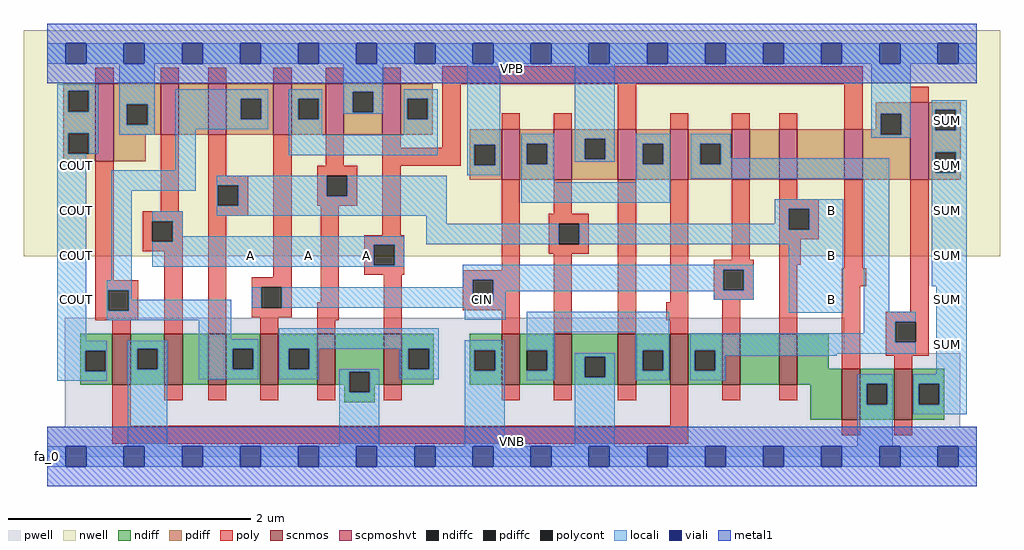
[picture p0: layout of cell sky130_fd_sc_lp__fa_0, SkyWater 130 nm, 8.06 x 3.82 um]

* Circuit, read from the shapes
.subckt sky130_fd_sc_lp__fa_0 A B CIN VGND VNB VPB VPWR COUT SUM
XM1 VGND n1 COUT VNB sky130_fd_pr__nfet_01v8 w=0.42 l=0.15
XM2 n2 A VGND VNB sky130_fd_pr__nfet_01v8 w=0.42 l=0.15
XM3 n1 B n2 VNB sky130_fd_pr__nfet_01v8 w=0.42 l=0.15
XM4 n3 CIN n1 VNB sky130_fd_pr__nfet_01v8 w=0.42 l=0.15
XM5 VGND B n3 VNB sky130_fd_pr__nfet_01v8 w=0.42 l=0.15
XM6 n3 A VGND VNB sky130_fd_pr__nfet_01v8 w=0.42 l=0.15
XM7 n4 CIN VGND VNB sky130_fd_pr__nfet_01v8 w=0.42 l=0.15
XM8 VGND B n4 VNB sky130_fd_pr__nfet_01v8 w=0.42 l=0.15
XM9 n4 A VGND VNB sky130_fd_pr__nfet_01v8 w=0.42 l=0.15
XM10 n5 n1 n4 VNB sky130_fd_pr__nfet_01v8 w=0.42 l=0.15
XM11 n6 CIN n5 VNB sky130_fd_pr__nfet_01v8 w=0.42 l=0.15
XM12 n7 B n6 VNB sky130_fd_pr__nfet_01v8 w=0.42 l=0.15
XM13 VGND A n7 VNB sky130_fd_pr__nfet_01v8 w=0.42 l=0.15
XM14 SUM n5 VGND VNB sky130_fd_pr__nfet_01v8 w=0.42 l=0.15
XM15 VPWR n1 COUT VPB sky130_fd_pr__pfet_01v8_hvt w=0.64 l=0.15
XM16 n8 A VPWR VPB sky130_fd_pr__pfet_01v8_hvt w=0.42 l=0.15
XM17 n1 B n8 VPB sky130_fd_pr__pfet_01v8_hvt w=0.42 l=0.15
XM18 n9 CIN n1 VPB sky130_fd_pr__pfet_01v8_hvt w=0.42 l=0.15
XM19 VPWR B n9 VPB sky130_fd_pr__pfet_01v8_hvt w=0.42 l=0.15
XM20 n9 A VPWR VPB sky130_fd_pr__pfet_01v8_hvt w=0.42 l=0.15
XM21 n10 CIN VPWR VPB sky130_fd_pr__pfet_01v8_hvt w=0.42 l=0.15
XM22 VPWR B n10 VPB sky130_fd_pr__pfet_01v8_hvt w=0.42 l=0.15
XM23 n10 A VPWR VPB sky130_fd_pr__pfet_01v8_hvt w=0.42 l=0.15
XM24 n5 n1 n10 VPB sky130_fd_pr__pfet_01v8_hvt w=0.42 l=0.15
XM25 n11 CIN n5 VPB sky130_fd_pr__pfet_01v8_hvt w=0.42 l=0.15
XM26 n12 B n11 VPB sky130_fd_pr__pfet_01v8_hvt w=0.42 l=0.15
XM27 VPWR A n12 VPB sky130_fd_pr__pfet_01v8_hvt w=0.42 l=0.15
XM28 SUM n5 VPWR VPB sky130_fd_pr__pfet_01v8_hvt w=0.64 l=0.15
.ends

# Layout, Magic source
magic
tech sky130A
magscale 1 2
<< nwell >>
rect -38 331 1574 704
<< pwell >>
rect 29 171 1317 229
rect 29 49 1508 171
rect 0 0 1536 49
<< scnmos >>
rect 108 119 138 203
rect 194 119 224 203
rect 266 119 296 203
rect 352 119 382 203
rect 446 119 476 203
rect 556 119 586 203
rect 751 119 781 203
rect 837 119 867 203
rect 943 119 973 203
rect 1029 119 1059 203
rect 1115 119 1145 203
rect 1209 119 1239 203
rect 1313 61 1343 145
rect 1399 61 1429 145
<< scpmoshvt >>
rect 80 488 110 616
rect 188 532 218 616
rect 266 532 296 616
rect 374 532 404 616
rect 460 532 490 616
rect 554 532 584 616
rect 751 457 781 541
rect 837 457 867 541
rect 943 457 973 541
rect 1029 457 1059 541
rect 1131 457 1161 541
rect 1209 457 1239 541
rect 1317 457 1347 541
rect 1426 457 1456 585
<< ndiff >>
rect 55 175 108 203
rect 55 141 63 175
rect 97 141 108 175
rect 55 119 108 141
rect 138 178 194 203
rect 138 144 149 178
rect 183 144 194 178
rect 138 119 194 144
rect 224 119 266 203
rect 296 178 352 203
rect 296 144 307 178
rect 341 144 352 178
rect 296 119 352 144
rect 382 178 446 203
rect 382 144 399 178
rect 433 144 446 178
rect 382 119 446 144
rect 476 140 556 203
rect 476 119 499 140
rect 491 106 499 119
rect 533 119 556 140
rect 586 178 639 203
rect 586 144 597 178
rect 631 144 639 178
rect 586 119 639 144
rect 698 176 751 203
rect 698 142 706 176
rect 740 142 751 176
rect 698 119 751 142
rect 781 176 837 203
rect 781 142 792 176
rect 826 142 837 176
rect 781 119 837 142
rect 867 165 943 203
rect 867 131 888 165
rect 922 131 943 165
rect 867 119 943 131
rect 973 176 1029 203
rect 973 142 984 176
rect 1018 142 1029 176
rect 973 119 1029 142
rect 1059 176 1115 203
rect 1059 142 1070 176
rect 1104 142 1115 176
rect 1059 119 1115 142
rect 1145 119 1209 203
rect 1239 145 1291 203
rect 1239 119 1313 145
rect 533 106 541 119
rect 491 90 541 106
rect 1261 61 1313 119
rect 1343 120 1399 145
rect 1343 86 1354 120
rect 1388 86 1399 120
rect 1343 61 1399 86
rect 1429 120 1482 145
rect 1429 86 1440 120
rect 1474 86 1482 120
rect 1429 61 1482 86
<< pdiff >>
rect 27 604 80 616
rect 27 570 35 604
rect 69 570 80 604
rect 27 534 80 570
rect 27 500 35 534
rect 69 500 80 534
rect 27 488 80 500
rect 110 582 188 616
rect 110 548 132 582
rect 166 548 188 582
rect 110 532 188 548
rect 218 532 266 616
rect 296 591 374 616
rect 296 557 320 591
rect 354 557 374 591
rect 296 532 374 557
rect 404 591 460 616
rect 404 557 415 591
rect 449 557 460 591
rect 404 532 460 557
rect 490 603 554 616
rect 490 569 505 603
rect 539 569 554 603
rect 490 532 554 569
rect 584 591 637 616
rect 584 557 595 591
rect 629 557 637 591
rect 584 532 637 557
rect 110 488 163 532
rect 1369 566 1426 585
rect 1369 541 1377 566
rect 698 515 751 541
rect 698 481 706 515
rect 740 481 751 515
rect 698 457 751 481
rect 781 517 837 541
rect 781 483 792 517
rect 826 483 837 517
rect 781 457 837 483
rect 867 525 943 541
rect 867 491 888 525
rect 922 491 943 525
rect 867 457 943 491
rect 973 517 1029 541
rect 973 483 984 517
rect 1018 483 1029 517
rect 973 457 1029 483
rect 1059 517 1131 541
rect 1059 483 1079 517
rect 1113 483 1131 517
rect 1059 457 1131 483
rect 1161 457 1209 541
rect 1239 457 1317 541
rect 1347 532 1377 541
rect 1411 532 1426 566
rect 1347 457 1426 532
rect 1456 573 1509 585
rect 1456 539 1467 573
rect 1501 539 1509 573
rect 1456 503 1509 539
rect 1456 469 1467 503
rect 1501 469 1509 503
rect 1456 457 1509 469
<< ndiffc >>
rect 63 141 97 175
rect 149 144 183 178
rect 307 144 341 178
rect 399 144 433 178
rect 499 106 533 140
rect 597 144 631 178
rect 706 142 740 176
rect 792 142 826 176
rect 888 131 922 165
rect 984 142 1018 176
rect 1070 142 1104 176
rect 1354 86 1388 120
rect 1440 86 1474 120
<< pdiffc >>
rect 35 570 69 604
rect 35 500 69 534
rect 132 548 166 582
rect 320 557 354 591
rect 415 557 449 591
rect 505 569 539 603
rect 595 557 629 591
rect 706 481 740 515
rect 792 483 826 517
rect 888 491 922 525
rect 984 483 1018 517
rect 1079 483 1113 517
rect 1377 532 1411 566
rect 1467 539 1501 573
rect 1467 469 1501 503
<< poly >>
rect 80 616 110 642
rect 188 616 218 642
rect 266 616 296 642
rect 374 616 404 642
rect 460 616 490 642
rect 554 616 584 642
rect 653 615 1347 645
rect 80 291 110 488
rect 188 405 218 532
rect 266 464 296 532
rect 266 448 332 464
rect 266 414 282 448
rect 316 414 332 448
rect 158 389 224 405
rect 158 355 174 389
rect 208 355 224 389
rect 158 339 224 355
rect 80 275 151 291
rect 80 241 101 275
rect 135 241 151 275
rect 80 225 151 241
rect 108 203 138 225
rect 194 203 224 339
rect 266 398 332 414
rect 266 203 296 398
rect 374 296 404 532
rect 460 480 490 532
rect 554 510 584 532
rect 653 510 683 615
rect 751 541 781 567
rect 837 541 867 567
rect 943 541 973 615
rect 1029 541 1059 567
rect 1131 541 1161 567
rect 1209 541 1239 567
rect 1317 541 1347 615
rect 1426 585 1456 611
rect 554 480 683 510
rect 446 464 512 480
rect 446 430 462 464
rect 496 430 512 464
rect 446 414 512 430
rect 338 280 404 296
rect 338 246 354 280
rect 388 246 404 280
rect 452 255 482 414
rect 554 366 584 480
rect 524 350 590 366
rect 524 316 540 350
rect 574 316 590 350
rect 524 300 590 316
rect 751 308 781 457
rect 837 401 867 457
rect 829 385 895 401
rect 829 351 845 385
rect 879 351 895 385
rect 829 335 895 351
rect 338 230 404 246
rect 352 203 382 230
rect 446 225 482 255
rect 446 203 476 225
rect 556 203 586 300
rect 687 292 781 308
rect 687 258 703 292
rect 737 258 781 292
rect 687 242 781 258
rect 751 203 781 242
rect 837 203 867 335
rect 943 203 973 457
rect 1029 255 1059 457
rect 1131 325 1161 457
rect 1209 425 1239 457
rect 1209 409 1275 425
rect 1209 375 1225 409
rect 1259 375 1275 409
rect 1209 359 1275 375
rect 1101 309 1167 325
rect 1101 275 1117 309
rect 1151 275 1167 309
rect 1101 259 1167 275
rect 1209 317 1245 359
rect 1023 225 1059 255
rect 1029 203 1059 225
rect 1115 203 1145 259
rect 1209 203 1239 317
rect 1317 311 1347 457
rect 1313 281 1353 311
rect 108 51 138 119
rect 194 93 224 119
rect 266 93 296 119
rect 352 93 382 119
rect 446 93 476 119
rect 1313 145 1343 281
rect 1426 239 1456 457
rect 1385 223 1456 239
rect 1385 189 1401 223
rect 1435 189 1456 223
rect 1385 167 1456 189
rect 1399 145 1429 167
rect 556 93 586 119
rect 751 93 781 119
rect 837 93 867 119
rect 943 93 973 119
rect 1029 51 1059 119
rect 1115 93 1145 119
rect 1209 93 1239 119
rect 108 21 1059 51
rect 1313 35 1343 61
rect 1399 35 1429 61
<< polycont >>
rect 282 414 316 448
rect 174 355 208 389
rect 101 241 135 275
rect 462 430 496 464
rect 354 246 388 280
rect 540 316 574 350
rect 845 351 879 385
rect 703 258 737 292
rect 1225 375 1259 409
rect 1117 275 1151 309
rect 1401 189 1435 223
<< locali >>
rect 0 649 31 683
rect 65 649 127 683
rect 161 649 223 683
rect 257 649 319 683
rect 353 649 415 683
rect 449 649 511 683
rect 545 649 607 683
rect 641 649 703 683
rect 737 649 799 683
rect 833 649 895 683
rect 929 649 991 683
rect 1025 649 1087 683
rect 1121 649 1183 683
rect 1217 649 1279 683
rect 1313 649 1375 683
rect 1409 649 1471 683
rect 1505 649 1536 683
rect 17 604 85 615
rect 17 570 35 604
rect 69 570 85 604
rect 17 534 85 570
rect 17 500 35 534
rect 69 500 85 534
rect 119 582 178 649
rect 119 548 132 582
rect 166 548 178 582
rect 119 532 178 548
rect 212 591 365 607
rect 212 557 320 591
rect 354 557 365 591
rect 212 541 365 557
rect 399 591 455 607
rect 399 557 415 591
rect 449 557 455 591
rect 489 603 555 649
rect 489 569 505 603
rect 539 569 555 603
rect 489 566 555 569
rect 589 591 645 607
rect 17 191 65 500
rect 212 473 246 541
rect 399 532 455 557
rect 589 557 595 591
rect 629 557 645 591
rect 589 532 645 557
rect 399 498 645 532
rect 694 515 749 649
rect 106 439 246 473
rect 694 481 706 515
rect 740 481 749 515
rect 694 465 749 481
rect 783 517 838 533
rect 783 483 792 517
rect 826 483 838 517
rect 872 525 938 649
rect 1361 566 1427 649
rect 872 491 888 525
rect 922 491 938 525
rect 872 487 938 491
rect 972 517 1029 533
rect 280 448 462 464
rect 106 291 140 439
rect 280 414 282 448
rect 316 430 462 448
rect 496 430 660 464
rect 316 414 660 430
rect 783 453 838 483
rect 972 483 984 517
rect 1018 483 1029 517
rect 972 453 1029 483
rect 1063 517 1129 533
rect 1361 532 1377 566
rect 1411 532 1427 566
rect 1361 527 1427 532
rect 1461 573 1519 589
rect 1461 539 1467 573
rect 1501 539 1519 573
rect 1063 483 1079 517
rect 1113 493 1129 517
rect 1461 503 1519 539
rect 1113 483 1391 493
rect 1063 459 1391 483
rect 783 419 1029 453
rect 174 389 224 405
rect 280 398 660 414
rect 208 364 224 389
rect 626 385 660 398
rect 1202 409 1315 425
rect 1202 385 1225 409
rect 208 355 590 364
rect 174 350 590 355
rect 626 351 845 385
rect 879 375 1225 385
rect 1259 375 1315 409
rect 879 351 1315 375
rect 174 316 540 350
rect 574 316 590 350
rect 174 314 590 316
rect 99 275 140 291
rect 687 309 1167 317
rect 687 292 1117 309
rect 687 280 703 292
rect 99 241 101 275
rect 135 259 140 275
rect 135 241 304 259
rect 338 246 354 280
rect 388 258 703 280
rect 737 275 1117 292
rect 1151 275 1167 309
rect 737 273 1167 275
rect 737 258 758 273
rect 1101 259 1167 273
rect 388 246 758 258
rect 99 225 304 241
rect 690 226 758 246
rect 251 194 304 225
rect 17 175 99 191
rect 17 141 63 175
rect 97 141 99 175
rect 17 125 99 141
rect 133 178 199 191
rect 133 144 149 178
rect 183 144 199 178
rect 133 17 199 144
rect 251 178 349 194
rect 251 144 307 178
rect 341 144 349 178
rect 251 128 349 144
rect 383 178 647 212
rect 792 205 1028 239
rect 1225 238 1315 351
rect 1349 239 1391 459
rect 1461 469 1467 503
rect 1501 469 1519 503
rect 1461 281 1519 469
rect 383 144 399 178
rect 433 144 449 178
rect 583 144 597 178
rect 631 144 647 178
rect 383 128 449 144
rect 483 140 549 144
rect 483 106 499 140
rect 533 106 549 140
rect 583 128 647 144
rect 690 176 756 192
rect 690 142 706 176
rect 740 142 756 176
rect 483 17 549 106
rect 690 17 756 142
rect 792 176 838 205
rect 826 142 838 176
rect 972 176 1028 205
rect 1349 223 1435 239
rect 1349 204 1401 223
rect 792 126 838 142
rect 872 165 938 171
rect 872 131 888 165
rect 922 131 938 165
rect 872 17 938 131
rect 972 142 984 176
rect 1018 142 1028 176
rect 972 126 1028 142
rect 1062 189 1401 204
rect 1062 176 1435 189
rect 1062 142 1070 176
rect 1104 170 1435 176
rect 1104 167 1304 170
rect 1104 142 1120 167
rect 1062 126 1120 142
rect 1469 136 1519 281
rect 1338 120 1397 136
rect 1338 86 1354 120
rect 1388 86 1397 120
rect 1338 17 1397 86
rect 1431 120 1519 136
rect 1431 86 1440 120
rect 1474 86 1519 120
rect 1431 70 1519 86
rect 0 -17 31 17
rect 65 -17 127 17
rect 161 -17 223 17
rect 257 -17 319 17
rect 353 -17 415 17
rect 449 -17 511 17
rect 545 -17 607 17
rect 641 -17 703 17
rect 737 -17 799 17
rect 833 -17 895 17
rect 929 -17 991 17
rect 1025 -17 1087 17
rect 1121 -17 1183 17
rect 1217 -17 1279 17
rect 1313 -17 1375 17
rect 1409 -17 1471 17
rect 1505 -17 1536 17
<< viali >>
rect 31 649 65 683
rect 127 649 161 683
rect 223 649 257 683
rect 319 649 353 683
rect 415 649 449 683
rect 511 649 545 683
rect 607 649 641 683
rect 703 649 737 683
rect 799 649 833 683
rect 895 649 929 683
rect 991 649 1025 683
rect 1087 649 1121 683
rect 1183 649 1217 683
rect 1279 649 1313 683
rect 1375 649 1409 683
rect 1471 649 1505 683
rect 31 -17 65 17
rect 127 -17 161 17
rect 223 -17 257 17
rect 319 -17 353 17
rect 415 -17 449 17
rect 511 -17 545 17
rect 607 -17 641 17
rect 703 -17 737 17
rect 799 -17 833 17
rect 895 -17 929 17
rect 991 -17 1025 17
rect 1087 -17 1121 17
rect 1183 -17 1217 17
rect 1279 -17 1313 17
rect 1375 -17 1409 17
rect 1471 -17 1505 17
<< metal1 >>
rect 0 683 1536 715
rect 0 649 31 683
rect 65 649 127 683
rect 161 649 223 683
rect 257 649 319 683
rect 353 649 415 683
rect 449 649 511 683
rect 545 649 607 683
rect 641 649 703 683
rect 737 649 799 683
rect 833 649 895 683
rect 929 649 991 683
rect 1025 649 1087 683
rect 1121 649 1183 683
rect 1217 649 1279 683
rect 1313 649 1375 683
rect 1409 649 1471 683
rect 1505 649 1536 683
rect 0 617 1536 649
rect 0 17 1536 49
rect 0 -17 31 17
rect 65 -17 127 17
rect 161 -17 223 17
rect 257 -17 319 17
rect 353 -17 415 17
rect 449 -17 511 17
rect 545 -17 607 17
rect 641 -17 703 17
rect 737 -17 799 17
rect 833 -17 895 17
rect 929 -17 991 17
rect 1025 -17 1087 17
rect 1121 -17 1183 17
rect 1217 -17 1279 17
rect 1313 -17 1375 17
rect 1409 -17 1471 17
rect 1505 -17 1536 17
rect 0 -49 1536 -17
<< labels >>
flabel pwell s 0 0 1536 49 0 FreeSans 200 0 0 0 VNB
port 5 nsew ground bidirectional
flabel nwell s 0 617 1536 666 0 FreeSans 200 0 0 0 VPB
port 6 nsew power bidirectional
rlabel comment s 0 0 0 0 4 fa_0
flabel metal1 s 0 617 1536 666 0 FreeSans 340 0 0 0 VPWR
port 7 nsew power bidirectional
flabel metal1 s 0 0 1536 49 0 FreeSans 340 0 0 0 VGND
port 4 nsew ground bidirectional
flabel locali s 319 316 353 350 0 FreeSans 340 0 0 0 A
port 1 nsew signal input
flabel locali s 415 316 449 350 0 FreeSans 340 0 0 0 A
port 1 nsew signal input
flabel locali s 511 316 545 350 0 FreeSans 340 0 0 0 A
port 1 nsew signal input
flabel locali s 31 242 65 276 0 FreeSans 340 0 0 0 COUT
port 8 nsew signal output
flabel locali s 31 316 65 350 0 FreeSans 340 0 0 0 COUT
port 8 nsew signal output
flabel locali s 31 390 65 424 0 FreeSans 340 0 0 0 COUT
port 8 nsew signal output
flabel locali s 31 464 65 498 0 FreeSans 340 0 0 0 COUT
port 8 nsew signal output
flabel locali s 1471 168 1505 202 0 FreeSans 340 0 0 0 SUM
port 9 nsew signal output
flabel locali s 1471 242 1505 276 0 FreeSans 340 0 0 0 SUM
port 9 nsew signal output
flabel locali s 1471 316 1505 350 0 FreeSans 340 0 0 0 SUM
port 9 nsew signal output
flabel locali s 1471 390 1505 424 0 FreeSans 340 0 0 0 SUM
port 9 nsew signal output
flabel locali s 1471 464 1505 498 0 FreeSans 340 0 0 0 SUM
port 9 nsew signal output
flabel locali s 1471 538 1505 572 0 FreeSans 340 0 0 0 SUM
port 9 nsew signal output
flabel locali s 1279 242 1313 276 0 FreeSans 340 0 0 0 B
port 2 nsew signal input
flabel locali s 1279 316 1313 350 0 FreeSans 340 0 0 0 B
port 2 nsew signal input
flabel locali s 1279 390 1313 424 0 FreeSans 340 0 0 0 B
port 2 nsew signal input
flabel locali s 703 242 737 276 0 FreeSans 340 0 0 0 CIN
port 3 nsew signal input
<< properties >>
string LEFsite unit
string LEFclass CORE
string FIXED_BBOX 0 0 1536 666
string GDS_FILE $PDKPATH/libs.ref/sky130_fd_sc_lp/gds/sky130_fd_sc_lp.gds
string LEFsymmetry X Y R90
string GDS_END 2445140
string GDS_START 2433158
<< end >>
